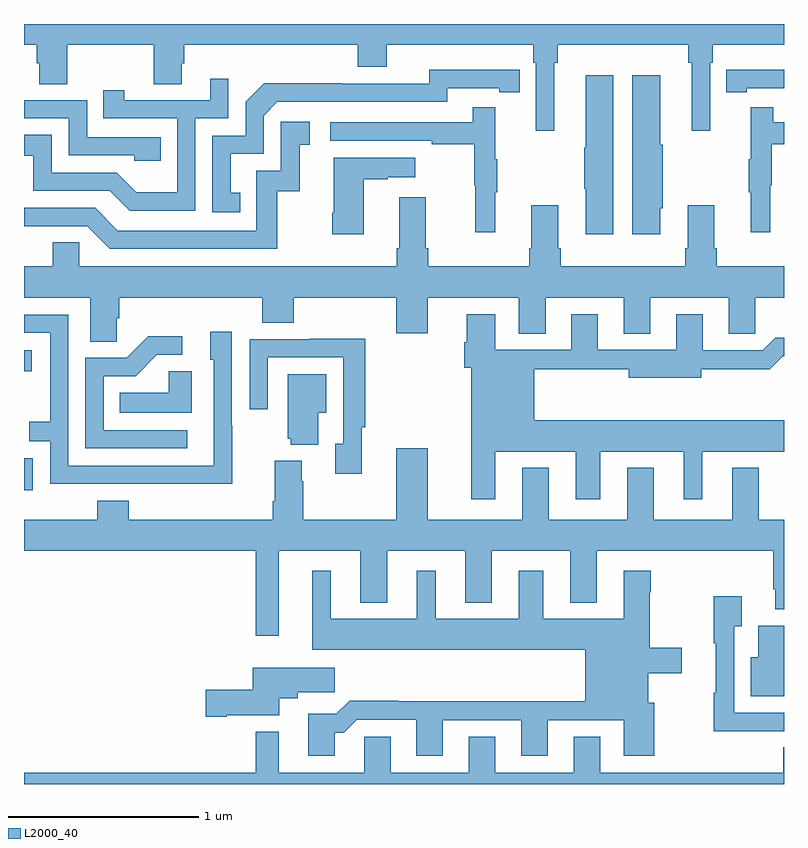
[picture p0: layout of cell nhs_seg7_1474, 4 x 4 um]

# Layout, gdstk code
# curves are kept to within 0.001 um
import gdstk
lib = gdstk.Library(unit=1e-6, precision=1e-09)
def R(c, l, rs):  # rectangles x0, y0, x1, y1
    for r in rs: c.add(gdstk.rectangle(r[:2], r[2:], *l))
def P(c, l, *ps):  # polygons
    for p in ps: c.add(gdstk.Polygon(p, *l))
L2000_40 = (2000, 40)

nhs_seg7_1474 = lib.new_cell('nhs_seg7_1474')
R(nhs_seg7_1474, L2000_40, [(211,1055.547,211.047,1055.715), (211,1056.173,211.042,1056.283)])
P(nhs_seg7_1474, L2000_40, [(213.79,1057.796),(213.809,1057.796),(213.809,1057.892),(214.495,1057.892),(214.495,1057.796),(214.514,1057.796),(214.514,1057.437),(214.611,1057.437),(214.611,1057.796),(214.625,1057.796),(214.625,1057.892),(215,1057.892),(215,1058),(211,1058),(211,1057.892),(211.067,1057.892),(211.067,1057.794),(211.079,1057.794),(211.079,1057.684),(211.227,1057.684),(211.227,1057.892),(211.684,1057.892),(211.684,1057.684),(211.831,1057.684),(211.831,1057.794),(211.844,1057.794),(211.844,1057.892),(212.756,1057.892),(212.756,1057.775),(212.908,1057.775),(212.908,1057.892),(213.68,1057.892),(213.68,1057.796),(213.693,1057.796),(213.693,1057.437),(213.79,1057.437)],
  [(212.138,1057.113),(212.089,1057.113),(212.089,1057.317),(212.262,1057.317),(212.262,1057.518),(212.334,1057.59),(213.228,1057.59),(213.228,1057.662),(213.5,1057.662),(213.5,1057.642),(213.608,1057.642),(213.608,1057.758),(213.132,1057.759),(213.132,1057.686),(212.672,1057.686),(212.672,1057.688),(212.264,1057.688),(212.166,1057.59),(212.166,1057.413),(211.992,1057.413),(211.992,1057.008),(212.138,1057.008)],
  [(214.804,1057.662),(215,1057.662),(215,1057.759),(214.804,1057.759),(214.804,1057.758),(214.696,1057.758),(214.696,1057.642),(214.804,1057.642)],
  [(214.348,1057.029),(214.363,1057.029),(214.363,1057.365),(214.348,1057.365),(214.348,1057.729),(214.202,1057.729),(214.202,1056.894),(214.348,1056.894)],
  [(214.102,1057.729),(213.956,1057.729),(213.956,1057.349),(213.949,1057.349),(213.949,1057.132),(213.956,1057.132),(213.956,1056.894),(214.102,1056.894)],
  [(211.902,1057.503),(212.076,1057.503),(212.076,1057.711),(211.979,1057.711),(211.979,1057.599),(211.528,1057.599),(211.528,1057.651),(211.417,1057.651),(211.417,1057.503),(211.806,1057.503),(211.806,1057.114),(211.592,1057.114),(211.488,1057.218),(211.146,1057.218),(211.146,1057.417),(211,1057.417),(211,1057.307),(211.048,1057.307),(211.048,1057.122),(211.451,1057.122),(211.556,1057.017),(211.902,1057.017)],
  [(211.721,1057.404),(211.332,1057.404),(211.332,1057.599),(211,1057.599),(211,1057.503),(211.236,1057.503),(211.236,1057.308),(211.581,1057.308),(211.581,1057.281),(211.721,1057.281)],
  [(214.928,1057.152),(214.936,1057.152),(214.936,1057.366),(215,1057.366),(215,1057.482),(214.943,1057.482),(214.943,1057.561),(214.826,1057.561),(214.826,1057.289),(214.815,1057.289),(214.815,1057.115),(214.826,1057.115),(214.826,1056.903),(214.928,1056.903)],
  [(213.479,1057.115),(213.49,1057.115),(213.49,1057.289),(213.479,1057.289),(213.479,1057.561),(213.361,1057.561),(213.361,1057.482),(212.613,1057.482),(212.613,1057.386),(213.145,1057.386),(213.145,1057.366),(213.369,1057.366),(213.369,1057.152),(213.376,1057.152),(213.376,1056.903),(213.479,1056.903)],
  [(212.332,1057.119),(212.45,1057.119),(212.45,1057.365),(212.503,1057.365),(212.503,1057.486),(212.352,1057.486),(212.352,1057.227),(212.223,1057.227),(212.223,1056.912),(211.494,1056.912),(211.374,1057.032),(211,1057.032),(211,1056.936),(211.332,1056.936),(211.452,1056.816),(212.332,1056.816)],
  [(212.788,1057.183),(212.915,1057.183),(212.915,1057.193),(213.058,1057.193),(213.058,1057.297),(212.63,1057.297),(212.63,1057.006),(212.623,1057.006),(212.623,1056.894),(212.788,1056.894)],
  [(211.488,1056.451),(211.502,1056.451),(211.502,1056.56),(212.255,1056.56),(212.255,1056.427),(212.42,1056.427),(212.42,1056.56),(212.96,1056.56),(212.96,1056.372),(213.124,1056.372),(213.124,1056.56),(213.605,1056.56),(213.605,1056.37),(213.745,1056.37),(213.745,1056.56),(214.157,1056.56),(214.157,1056.37),(214.297,1056.37),(214.297,1056.56),(214.709,1056.56),(214.709,1056.37),(214.848,1056.37),(214.848,1056.56),(215,1056.56),(215,1056.724),(214.646,1056.724),(214.646,1056.82),(214.633,1056.82),(214.633,1057.045),(214.493,1057.045),(214.493,1056.82),(214.481,1056.82),(214.481,1056.724),(213.824,1056.724),(213.824,1056.82),(213.811,1056.82),(213.811,1057.045),(213.671,1057.045),(213.671,1056.82),(213.659,1056.82),(213.659,1056.724),(213.128,1056.724),(213.128,1056.82),(213.115,1056.82),(213.115,1057.087),(212.975,1057.087),(212.975,1056.82),(212.963,1056.82),(212.963,1056.724),(211.29,1056.724),(211.29,1056.851),(211.151,1056.851),(211.151,1056.724),(211,1056.724),(211,1056.56),(211.349,1056.56),(211.349,1056.328),(211.488,1056.328)],
  [(213.481,1055.75),(213.905,1055.75),(213.905,1055.499),(214.033,1055.499),(214.033,1055.75),(214.472,1055.75),(214.472,1055.499),(214.57,1055.499),(214.57,1055.75),(215,1055.75),(215,1055.914),(213.685,1055.914),(213.685,1056.184),(214.184,1056.184),(214.184,1056.137),(214.564,1056.137),(214.564,1056.182),(214.925,1056.182),(214.994,1056.251),(215,1056.251),(215,1056.349),(214.954,1056.349),(214.887,1056.282),(214.573,1056.282),(214.573,1056.472),(214.433,1056.472),(214.433,1056.285),(214.021,1056.285),(214.021,1056.472),(213.881,1056.472),(213.881,1056.285),(213.481,1056.285),(213.481,1056.472),(213.329,1056.472),(213.329,1056.326),(213.317,1056.326),(213.317,1056.192),(213.353,1056.192),(213.353,1055.499),(213.481,1055.499)],
  [(212.097,1055.885),(212.094,1055.885),(212.094,1056.379),(211.979,1056.379),(211.979,1056.234),(211.998,1056.234),(211.998,1055.676),(211.233,1055.676),(211.233,1056.471),(211,1056.471),(211,1056.375),(211.137,1056.375),(211.137,1055.906),(211.027,1055.906),(211.027,1055.805),(211.137,1055.805),(211.137,1055.58),(211.633,1055.58),(211.633,1055.579),(212.097,1055.579)],
  [(211.858,1055.862),(211.419,1055.862),(211.419,1056.147),(211.588,1056.147),(211.699,1056.258),(211.834,1056.258),(211.834,1056.356),(211.655,1056.356),(211.542,1056.243),(211.323,1056.243),(211.323,1055.766),(211.858,1055.766)],
  [(212.777,1055.878),(212.795,1055.878),(212.795,1056.344),(212.503,1056.344),(212.503,1056.342),(212.187,1056.342),(212.187,1055.973),(212.283,1055.973),(212.283,1056.246),(212.679,1056.246),(212.679,1055.79),(212.639,1055.79),(212.639,1055.634),(212.777,1055.634)],
  [(211.882,1056.173),(211.761,1056.173),(211.761,1056.058),(211.504,1056.058),(211.504,1055.954),(211.882,1055.954)],
  [(212.548,1055.954),(212.59,1055.954),(212.59,1056.157),(212.387,1056.157),(212.387,1055.817),(212.405,1055.817),(212.405,1055.786),(212.548,1055.786)],
  [(212.341,1055.228),(212.771,1055.228),(212.771,1054.955),(212.911,1054.955),(212.911,1055.228),(213.323,1055.228),(213.323,1054.955),(213.463,1054.955),(213.463,1055.228),(213.875,1055.228),(213.875,1054.955),(214.015,1054.955),(214.015,1055.228),(214.943,1055.228),(214.943,1055.026),(214.955,1055.026),(214.955,1054.919),(215,1054.919),(215,1055.392),(214.867,1055.392),(214.867,1055.665),(214.727,1055.665),(214.727,1055.392),(214.315,1055.392),(214.315,1055.665),(214.175,1055.665),(214.175,1055.392),(213.763,1055.392),(213.763,1055.665),(213.623,1055.665),(213.623,1055.392),(213.124,1055.392),(213.124,1055.767),(212.96,1055.767),(212.96,1055.392),(212.469,1055.392),(212.469,1055.594),(212.461,1055.594),(212.461,1055.701),(212.321,1055.701),(212.321,1055.488),(212.309,1055.488),(212.309,1055.392),(211.55,1055.392),(211.55,1055.491),(211.385,1055.491),(211.385,1055.392),(211,1055.392),(211,1055.228),(212.22,1055.228),(212.22,1054.779),(212.341,1054.779)],
  [(212.635,1054.271),(212.684,1054.271),(212.751,1054.338),(213.065,1054.338),(213.065,1054.149),(213.205,1054.149),(213.205,1054.335),(213.617,1054.335),(213.617,1054.149),(213.757,1054.149),(213.757,1054.335),(214.157,1054.335),(214.157,1054.149),(214.317,1054.149),(214.317,1054.428),(214.285,1054.428),(214.285,1054.583),(214.462,1054.583),(214.462,1054.718),(214.293,1054.718),(214.293,1055.009),(214.298,1055.009),(214.298,1055.122),(214.157,1055.122),(214.157,1054.87),(213.733,1054.87),(213.733,1055.122),(213.605,1055.122),(213.605,1054.87),(213.166,1054.87),(213.166,1055.122),(213.068,1055.122),(213.068,1054.87),(212.614,1054.87),(212.614,1055.122),(212.516,1055.122),(212.516,1054.706),(213.953,1054.706),(213.953,1054.436),(212.969,1054.436),(212.969,1054.439),(212.714,1054.439),(212.644,1054.369),(212.495,1054.369),(212.495,1054.149),(212.635,1054.149)],
  [(214.913,1054.278),(215,1054.278),(215,1054.374),(214.737,1054.374),(214.737,1054.831),(214.777,1054.831),(214.777,1054.987),(214.629,1054.987),(214.629,1054.742),(214.64,1054.742),(214.64,1054.481),(214.629,1054.481),(214.629,1054.277),(214.913,1054.277)],
  [(215,1054.834),(214.865,1054.834),(214.865,1054.666),(214.826,1054.666),(214.826,1054.463),(215,1054.463)],
  [(212.068,1054.361),(212.344,1054.361),(212.344,1054.451),(212.44,1054.451),(212.44,1054.483),(212.635,1054.483),(212.635,1054.612),(212.204,1054.612),(212.204,1054.496),(211.956,1054.496),(211.956,1054.354),(212.068,1054.354)],
  [(215,1054.193),(214.997,1054.193),(214.997,1054.06),(214.033,1054.06),(214.033,1054.25),(213.893,1054.25),(213.893,1054.06),(213.481,1054.06),(213.481,1054.25),(213.341,1054.25),(213.341,1054.06),(212.929,1054.06),(212.929,1054.25),(212.79,1054.25),(212.79,1054.06),(212.341,1054.06),(212.341,1054.276),(212.22,1054.276),(212.22,1054.06),(211,1054.06),(211,1054),(215,1054)])

lib.write_gds('nhs_seg7_1474.gds')
